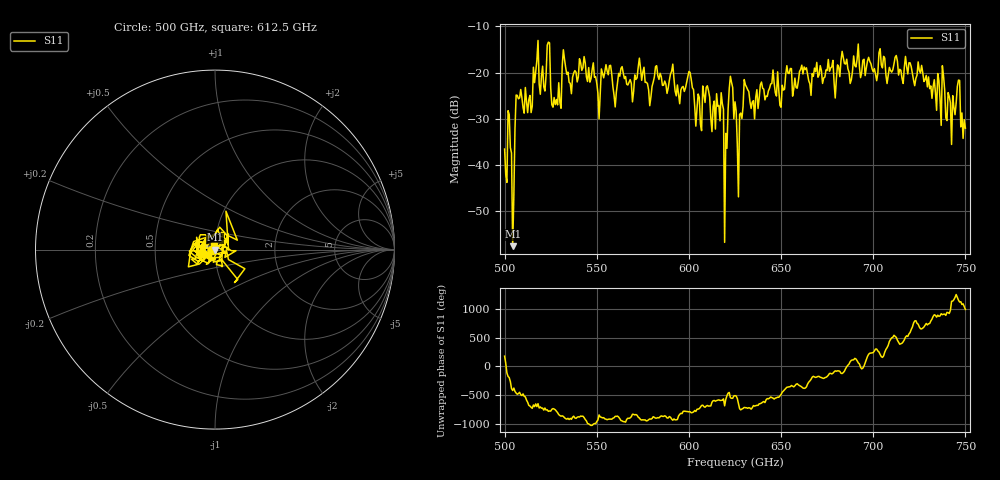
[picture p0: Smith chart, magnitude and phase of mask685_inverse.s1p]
!Created with skrf (http://scikit-rf.org).
# GHz S MA R 50.0
!freq magS11 angS11
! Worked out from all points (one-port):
!   401 points, 500 GHz to 750 GHz, reference 50 ohm
!   lowest |S11| = -57.5 dB at 504.4 GHz (marker M1), VSWR 1.00, Z = 50.1 - j0.113 ohm
!   |S11| at or under -10 dB: start of sweep to end of sweep
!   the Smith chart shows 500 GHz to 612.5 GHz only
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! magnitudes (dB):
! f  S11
! 500 GHz  -36.5
! 502.5 GHz  -29.0
! 504.4 GHz  -57.5
! 507.5 GHz  -25.7
! 513.8 GHz  -24.9
! 516.9 GHz  -19.8
! 520.6 GHz  -18.6
! 523.8 GHz  -13.4
! 526.9 GHz  -25.4
! 531.2 GHz  -18.6
! 560 GHz  -27.4
! 562.5 GHz  -20.8
! 593.8 GHz  -22.7
! 600 GHz  -19.8
! 605 GHz  -24.6
! 616.2 GHz  -27.1
! 620 GHz  -33.2
! 622.5 GHz  -20.8
! 625 GHz  -26.3
! 627.5 GHz  -29.0
! 631.2 GHz  -23.1
! 634.4 GHz  -26.4
! 656.2 GHz  -25.1
! 687.5 GHz  -22.4
! 718.8 GHz  -20.3
! 741.2 GHz  -25.2
! 745.6 GHz  -23.0
! 750 GHz  -32.0
